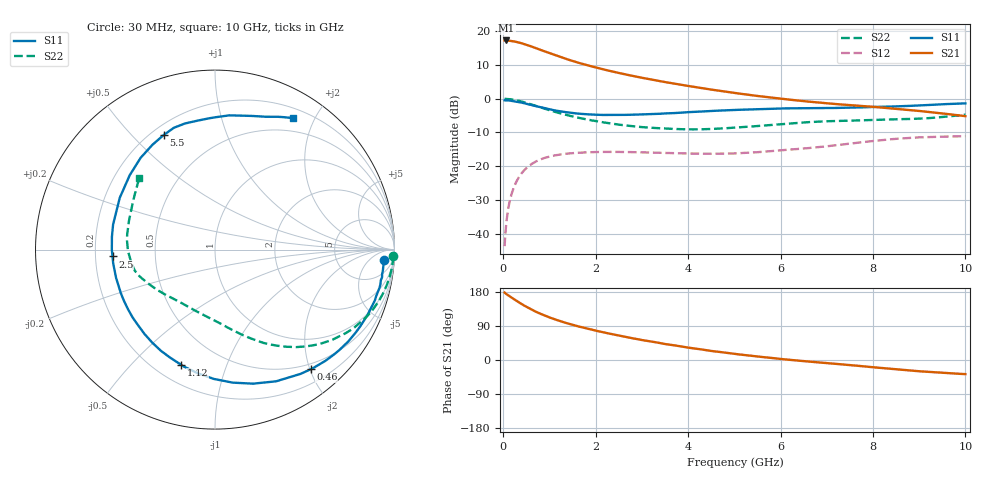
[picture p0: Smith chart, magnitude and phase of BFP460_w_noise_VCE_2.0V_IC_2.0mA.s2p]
! (c) 2016  Infineon Technologies AG, Munich
! Infineon Technologies  Discrete & RF Semiconductors
! BFP460
! VCE =  2.0 V,  IC =  2.0 mA
! Common Emitter S-Parameters:  Jan 2016
# GHz  S  MA  R  50
!  f  S11  S21  S12  S22
! GHz  MAG  ANG  MAG  ANG  MAG  ANG  MAG  ANG
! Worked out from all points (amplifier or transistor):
!   229 points, 30 MHz to 10 GHz, reference 50 ohm
!   highest |S21| = 17.3 dB at 70 MHz (marker M1)
!   |S21| within 3 dB of that: start of sweep to 848.4 MHz
!   unconditionally stable (mu >= 1): 3.859 GHz to 8.253 GHz
!   at 280 MHz: K = 0.09, MSG = 20.8 dB, |S12| = -24.8 dB
!   at 1.78 GHz: K = 0.51, MSG = 13.0 dB, |S12| = -15.9 dB
!   at 10 GHz: K = 0.95, MSG = 3.0 dB, |S12| = -11.1 dB
!   lowest NFmin = 0.68 dB at 450 MHz
!   S11 on the Smith chart (normalised r, x): 30 MHz: 16, -17; 460 MHz: 0.41, -2.01; 1.12 GHz: 0.30, -0.70; 2.5 GHz: 0.27, -0.03; 5.5 GHz: 0.25, +0.62; 10 GHz: 0.32, +1.71
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0.03  0.9447 -3.6  7.265 177.9  0.0065 87.4  0.9944 -2.2
0.05  0.9424 -5.7  7.229 175.2  0.0107 86.6  0.9934 -3.5
0.07  0.9411 -8.3  7.288 173.6  0.0153 85.1  0.9918 -5.0
0.14  0.9343 -16.4  7.219 168.1  0.0301 80.0  0.9824 -9.9
0.26  0.9106 -30.2  6.991 158.2  0.054 71.8  0.9537 -18.1
0.36  0.8847 -41.1  6.731 150.5  0.0719 65.4  0.92 -24.5
0.46  0.8533 -51.4  6.422 143.2  0.0877 59.6  0.8817 -30.3
0.6  0.809 -65.1  5.966 133.8  0.106 52.4  0.825 -37.5
0.7  0.7767 -74.1  5.636 127.7  0.1166 47.7  0.7835 -42.3
0.9  0.7206 -90.5  5.014 117.1  0.1325 39.9  0.7072 -50.2
1.12  0.6693 -106.3  4.417 107.1  0.1442 33.1  0.6369 -57.2
1.38  0.6273 -122.9  3.843 97.0  0.1529 26.8  0.5702 -64.1
1.7  0.5944 -140.6  3.295 86.3  0.1588 21.0  0.5084 -71.0
2  0.5781 -155.1  2.901 77.5  0.1615 16.8  0.4651 -76.8
2.5  0.5723 -176.2  2.404 64.5  0.1622 11.9  0.4122 -86.0
3.4  0.5971 154.3  1.812 44.6  0.1574 7.2  0.3636 -103.7
4  0.6305 138.9  1.544 32.7  0.1537 6.8  0.3508 -116.2
5.1  0.6833 119.5  1.191 14.8  0.1553 10.6  0.3752 -138.7
5.5  0.6992 114.2  1.096 9.2  0.1607 12.3  0.3927 -145.1
6.8  0.723 100.0  0.878 -6.0  0.1907 14.4  0.4549 -163.3
8.4  0.764 77.6  0.716 -23.5  0.2504 8.5  0.493 174.1
10  0.8511 59.3  0.55 -37.3  0.2772 -3.1  0.5802 136.7
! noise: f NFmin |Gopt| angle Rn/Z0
0.45  0.68  0.58  19  0.26
0.9  0.74  0.54  38  0.26
1.9  1.17  0.35  94  0.17
3.5  1.69  0.37  -166  0.13
